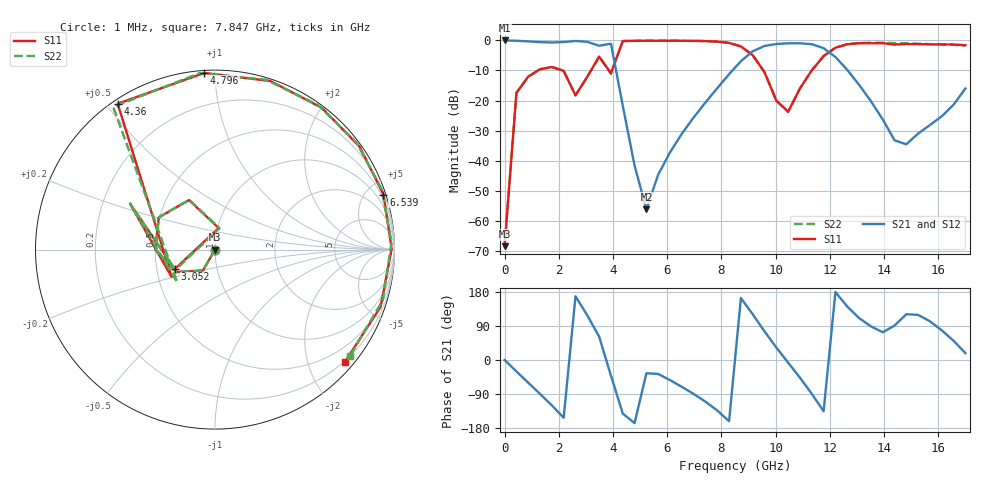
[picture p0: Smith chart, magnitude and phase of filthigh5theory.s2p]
# GHz S RI R 50
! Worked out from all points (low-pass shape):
!   40 points, 1 MHz to 17 GHz, reference 50 ohm
!   highest |S21| = 0.00 dB at 1 MHz (marker M1); lowest = -56.3 dB at 5.231 GHz (marker M2)
!   |S21| within 3 dB of the highest: start of sweep to 3.964 GHz; 9.301 GHz to 11.83 GHz (2.532 GHz wide, 24 % of centre)
!   lowest |S11| = -68.5 dB at 1 MHz (marker M3), VSWR 1.00, Z = 50 - j0.03 ohm
!   |S11| at or under -10 dB: start of sweep to 1.236 GHz; 2.138 GHz to 3.187 GHz (1.049 GHz wide, 39.4 % of centre); 9.542 GHz to 11.33 GHz (1.787 GHz wide, 17.1 % of centre)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
!   |S22| runs from -68.5 to -0.1 dB; largest |S21 - S12| = 8.5e-14
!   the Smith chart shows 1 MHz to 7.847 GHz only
!   S11 on the Smith chart (normalised r, x): 1 MHz: 1.00, -0.00; 3.052 GHz: 0.62, -0.14; 4.36 GHz: 0.01, +0.53; 4.796 GHz: 0.01, +0.94; 6.539 GHz: 0.25, +6.27; 7.847 GHz: 0.18, -2.67
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0.001  0.000225 -0.0003  0.9998 -0.00122  0.9998 -0.00122  0.000225 -0.0003
0.4368718  -0.0671 -0.1163  0.8548 -0.4967  0.8548 -0.4967  -0.0672 -0.1162
1.744487  -0.3137 0.1793  -0.459 -0.8028  -0.459 -0.8028  -0.3129 0.1807
2.616231  0.0206 0.1202  -0.958 0.2022  -0.958 0.2022  0.025 0.1193
3.052103  -0.2239 -0.1086  -0.4432 0.8398  -0.4432 0.8398  -0.2214 -0.1134
3.487974  -0.4734 0.2559  0.3862 0.7197  0.3862 0.7197  -0.4732 0.2557
3.923846  -0.2414 -0.1529  0.6662 -0.5787  0.6662 -0.5787  -0.2101 -0.183
4.359718  -0.5423 0.8127  -0.0642 -0.0512  -0.0642 -0.0512  -0.5673 0.795
4.79559  -0.0592 0.9845  -0.00803 -0.00192  -0.00803 -0.00192  -0.0858 0.9828
5.231462  0.3086 0.939  0.00126 -0.00088  0.00126 -0.00088  0.2849 0.9464
5.667333  0.595 0.79  0.00468 -0.0035  0.00468 -0.0035  0.5739 0.8054
6.539077  0.9386 0.3069  0.00916 -0.0265  0.00916 -0.0265  0.9286 0.3361
7.846692  0.7231 -0.6271  -0.1101 -0.1169  -0.1101 -0.1169  0.7512 -0.5941
8.718436  -0.1363 -0.782  -0.4324 0.1285  -0.4324 0.1285  -0.0871 -0.7906
9.590179  -0.2938 -0.0144  0.2045 0.7837  0.2045 0.7837  -0.2934 -0.0413
10.46192  -0.0503 -0.0417  0.8889 -0.1103  0.8889 -0.1103  -0.0433 -0.0469
11.33367  -0.3167 0.0334  0.0117 -0.8646  0.0117 -0.8646  -0.3181 -0.00751
12.64128  0.6352 0.5847  -0.2516 0.2036  -0.2516 0.2036  0.5467 0.672
13.51303  0.8293 -0.3383  0.00196 0.0976  0.00196 0.0976  0.9008 -0.1578
14.38477  0.0931 -0.848  -0.000295 0.0218  -0.000295 0.0218  0.4461 -0.7867
15.69238  -0.8217 -0.2575  -0.00819 0.0382  -0.00819 0.0382  -0.6134 -0.6161
17  -0.2856 0.7848  0.1503 0.0494  0.1503 0.0494  -0.6234 0.5256
